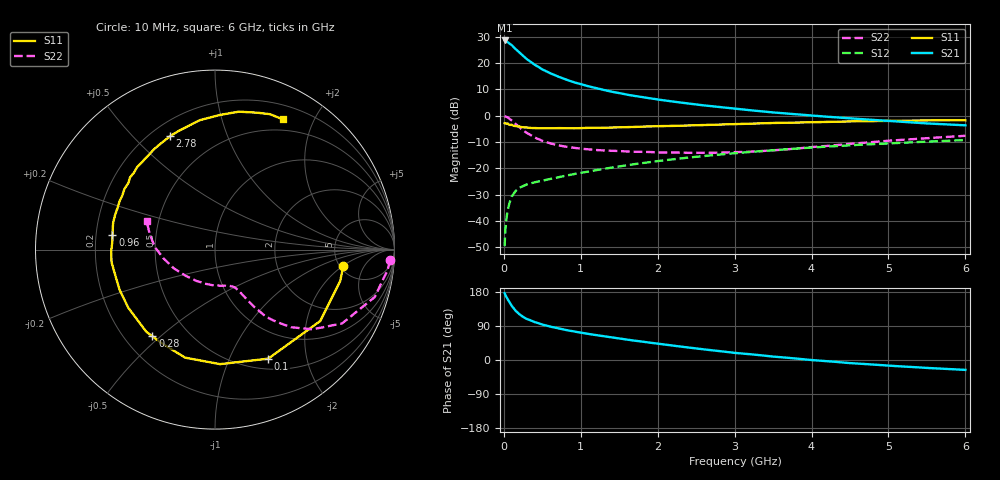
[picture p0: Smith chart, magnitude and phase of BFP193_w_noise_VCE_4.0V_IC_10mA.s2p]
! Infineon Technologies  Discrete & RF Semiconductors
! BFP193
! VCE = 4.0 V,  IC =  10 mA
! Common Emitter S-Parameters:  Jan 2016
# GHz  S  MA  R  50
!  f  S11  S21  S12  S22
! GHz  MAG  ANG  MAG  ANG  MAG  ANG  MAG  ANG
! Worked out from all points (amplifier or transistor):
!   210 points, 10 MHz to 6 GHz, reference 50 ohm
!   highest |S21| = 28.6 dB at 10 MHz (marker M1)
!   |S21| within 3 dB of that: start of sweep to 143.3 MHz
!   unconditionally stable (mu >= 1): 1.016 GHz to 3.703 GHz
!   at 185 MHz: K = 0.32, MSG = 26.1 dB, |S12| = -27.8 dB
!   at 1.52 GHz: K = 1.09, MAG = 12.0 dB, |S12| = -19.2 dB
!   at 6 GHz: K = 0.91, MSG = 2.8 dB, |S12| = -9.3 dB
!   lowest NFmin = 1.30 dB at 450 MHz
!   S11 on the Smith chart (normalised r, x): 10 MHz: 5.34, -2.06; 100 MHz: 0.63, -1.41; 280 MHz: 0.31, -0.47; 960 MHz: 0.27, +0.06; 2.78 GHz: 0.27, +0.64; 6 GHz: 0.36, +1.59
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0.01  0.7208 -7.4  26.9 176.4  0.0033 89.6  0.9766 -3.5
0.02  0.7192 -14.0  26.19 171.2  0.0068 83.7  0.9682 -6.8
0.05  0.7084 -34.2  25.09 159.9  0.0159 75.4  0.9281 -16.6
0.1  0.6761 -64.0  22.17 143.4  0.0288 62.6  0.8185 -30.2
0.15  0.6387 -87.5  18.63 130.3  0.0366 54.0  0.7016 -39.3
0.2  0.6246 -105.4  15.98 121.0  0.0424 48.9  0.6049 -45.6
0.24  0.6023 -116.7  14.05 115.2  0.0451 45.8  0.5401 -48.9
0.28  0.5957 -125.8  12.52 110.4  0.048 44.2  0.4906 -51.6
0.3  0.5964 -130.0  11.83 108.1  0.0494 43.7  0.4684 -52.8
0.4  0.5818 -146.0  9.319 100.1  0.0541 42.4  0.3848 -55.7
0.5  0.577 -157.1  7.59 93.5  0.0581 42.9  0.3319 -57.3
0.6  0.574 -166.0  6.433 88.2  0.0627 43.4  0.2977 -58.6
0.7  0.5807 -173.1  5.569 83.5  0.0669 44.7  0.2742 -59.5
0.96  0.5767 172.0  4.119 73.6  0.0798 46.8  0.2398 -62.3
1.02  0.5809 169.0  3.891 71.5  0.0827 47.3  0.2346 -63.1
1.4  0.5965 153.0  2.857 59.7  0.1025 48.5  0.2153 -69.9
2.02  0.6323 132.8  2.008 42.6  0.138 46.9  0.2 -85.8
2.78  0.6794 111.6  1.472 24.0  0.1808 41.6  0.1972 -111.5
3.1  0.6968 104.8  1.313 17.1  0.1984 38.7  0.204 -123.4
4.1  0.7552 86.4  0.979 -1.6  0.2528 29.2  0.2588 -159.0
5.1  0.7984 72.8  0.778 -16.1  0.3017 18.8  0.3409 175.5
6  0.8183 62.5  0.655 -26.1  0.3433 9.1  0.4143 157.0
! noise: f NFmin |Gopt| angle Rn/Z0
0.45  1.3  0.22  143  0.11
0.9  1.3  0.34  160  0.11
1.8  2.05  0.54  -153  0.14
